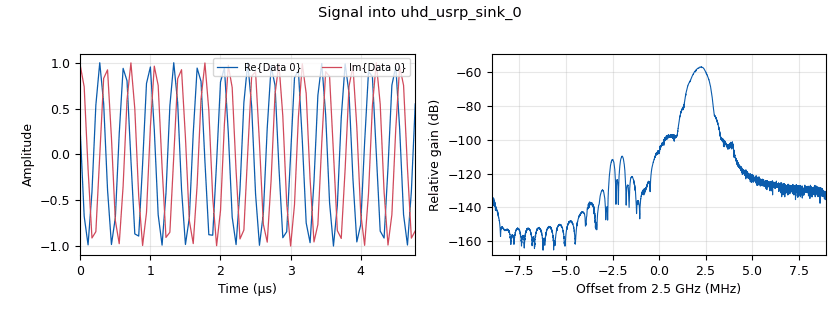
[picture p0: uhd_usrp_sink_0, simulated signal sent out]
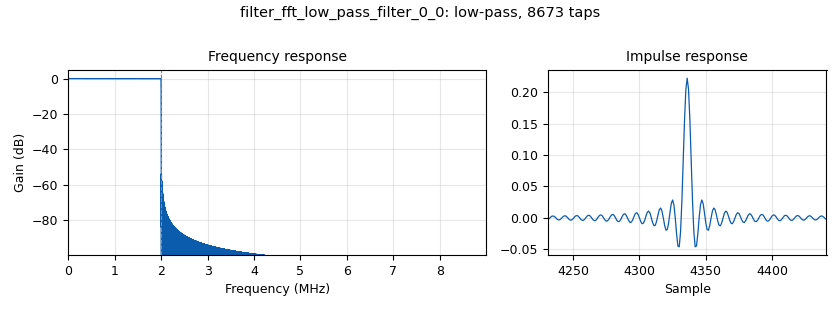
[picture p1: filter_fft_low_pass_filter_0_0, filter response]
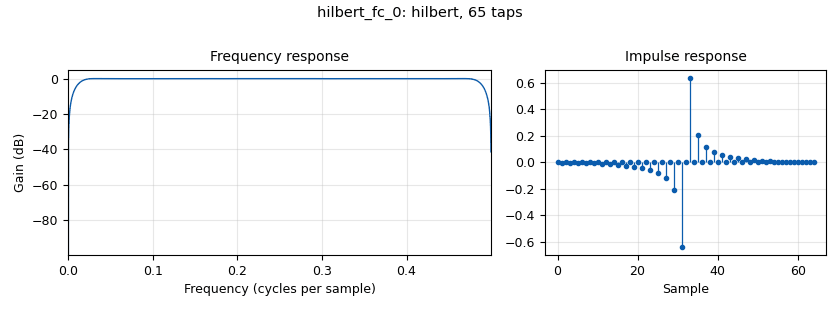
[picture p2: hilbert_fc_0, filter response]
options:
  parameters:
    generate_options: qt_gui
    id: cwfmRadar
    output_language: python
    title: Not titled yet
  states: {}

blocks:
- name: freq
  id: variable
  parameters:
    value: 2500e6
  states: {}
- name: samp_rate
  id: variable
  parameters:
    value: '18000000'
  states: {}
- name: analog_fm_demod_cf_0
  id: analog_fm_demod_cf
  parameters:
    audio_decim: '8'
    audio_pass: '15000'
    audio_stop: '16000'
    chan_rate: '384000'
    deviation: '75000'
    gain: '1.0'
    tau: '75e-6'
  states: {state: disabled}
- name: analog_sig_source_x_0
  id: analog_sig_source_x
  parameters:
    amp: '4'
    freq: '2000'
    offset: '0'
    phase: '0'
    samp_rate: samp_rate
    type: float
    waveform: analog.GR_SAW_WAVE
  states: {}
- name: blocks_add_xx_0
  id: blocks_add_xx
  parameters:
    num_inputs: '3'
    type: complex
  states: {state: disabled}
- name: blocks_complex_to_real_0
  id: blocks_complex_to_real
  parameters: {}
  states: {}
- name: blocks_complex_to_real_0_0
  id: blocks_complex_to_real
  parameters: {}
  states: {state: disabled}
- name: blocks_delay_0
  id: blocks_delay
  parameters:
    delay: '0'
    type: complex
  states: {state: disabled}
- name: blocks_delay_0_0
  id: blocks_delay
  parameters:
    delay: '1000'
    type: complex
  states: {state: disabled}
- name: blocks_delay_0_0_0
  id: blocks_delay
  parameters:
    delay: '2000'
    type: complex
  states: {state: disabled}
- name: blocks_delay_0_0_1
  id: blocks_delay
  parameters:
    delay: '0'
    type: complex
  states: {state: disabled}
- name: blocks_head_0
  id: blocks_head
  parameters:
    num_items: '25000000'
    type: float
  states: {state: disabled}
- name: blocks_multiply_conjugate_cc_0
  id: blocks_multiply_conjugate_cc
  parameters: {}
  states: {state: disabled}
- name: blocks_multiply_xx_0
  id: blocks_multiply_xx
  parameters:
    type: float
  states: {}
- name: blocks_skiphead_0
  id: blocks_skiphead
  parameters:
    num_items: '10000000'
    type: float
  states: {state: disabled}
- name: blocks_throttle2_0
  id: blocks_throttle2
  parameters:
    samples_per_second: samp_rate
    type: complex
  states: {state: disabled}
- name: blocks_vco_f_0
  id: blocks_vco_f
  parameters:
    amplitude: '1'
    samp_rate: samp_rate
    sensitivity: '6280000'
  states: {}
- name: filter_fft_low_pass_filter_0
  id: filter_fft_low_pass_filter
  parameters:
    cutoff_freq: '2000000'
    decim: '1'
    gain: '1'
    nthreads: '4'
    samp_rate: samp_rate
    type: ccc
    width: '5000'
    win: window.WIN_HAMMING
  states: {state: disabled}
- name: filter_fft_low_pass_filter_0_0
  id: filter_fft_low_pass_filter
  parameters:
    cutoff_freq: '2000000'
    decim: '1'
    gain: '1'
    nthreads: '4'
    samp_rate: samp_rate
    type: fff
    width: '5000'
    win: window.WIN_HAMMING
  states: {}
- name: filter_fft_low_pass_filter_0_0_0
  id: filter_fft_low_pass_filter
  parameters:
    cutoff_freq: samp_rate/2
    decim: '1'
    gain: '1'
    nthreads: '4'
    samp_rate: samp_rate
    type: ccc
    width: '5000'
    win: window.WIN_HAMMING
  states: {state: disabled}
- name: hilbert_fc_0
  id: hilbert_fc
  parameters:
    num_taps: '64'
  states: {}
- name: qtgui_freq_sink_x_0
  id: qtgui_freq_sink_x
  parameters:
    bw: samp_rate
    fc: '0'
    fftsize: '4096'
    name: '"TX signal"'
    type: complex
  states: {state: disabled}
- name: qtgui_freq_sink_x_0_0
  id: qtgui_freq_sink_x
  parameters:
    bw: samp_rate/2
    fc: '0'
    fftsize: '1024'
    type: complex
  states: {state: disabled}
- name: qtgui_freq_sink_x_0_0_0
  id: qtgui_freq_sink_x
  parameters:
    autoscale: 'True'
    bw: '10000'
    ctrlpanel: 'True'
    fc: '0'
    fftsize: '1024'
    name: '"RX COmplex"'
    type: complex
    ymin: '-180'
  states: {state: disabled}
- name: qtgui_freq_sink_x_1
  id: qtgui_freq_sink_x
  parameters:
    autoscale: 'True'
    bw: samp_rate
    ctrlpanel: 'True'
    fc: '0'
    fftsize: '1024'
    grid: 'True'
    name: '"RX FFT"'
    type: float
    update_time: '0.01'
    wintype: window.WIN_HAMMING
  states: {state: disabled}
- name: qtgui_freq_sink_x_1_0
  id: qtgui_freq_sink_x
  parameters:
    bw: samp_rate
    fc: '0'
    fftsize: '1024'
    grid: 'True'
    name: '"TX FFT"'
    type: float
    update_time: '0.1'
  states: {state: disabled}
- name: qtgui_freq_sink_x_2_0
  id: qtgui_freq_sink_x
  parameters:
    bw: samp_rate
    fc: '0'
    fftsize: '1024'
    name: '"TX Signal!!!!"'
    type: complex
  states: {state: disabled}
- name: qtgui_time_sink_x_0
  id: qtgui_time_sink_x
  parameters:
    size: 1024*4
    srate: samp_rate
    type: complex
  states: {state: disabled}
- name: qtgui_time_sink_x_0_0
  id: qtgui_time_sink_x
  parameters:
    autoscale: 'True'
    ctrlpanel: 'True'
    entags: 'False'
    size: '1024'
    srate: samp_rate
    tr_mode: qtgui.TRIG_MODE_AUTO
    type: float
  states: {state: disabled}
- name: qtgui_time_sink_x_0_0_0
  id: qtgui_time_sink_x
  parameters:
    autoscale: 'True'
    ctrlpanel: 'True'
    entags: 'False'
    label1: 'TX '
    label2: RX
    name: '"TX time signal"'
    nconnections: '2'
    size: '1024'
    srate: samp_rate
    tr_mode: qtgui.TRIG_MODE_AUTO
    type: float
  states: {}
- name: qtgui_time_sink_x_0_0_0_0
  id: qtgui_time_sink_x
  parameters:
    autoscale: 'True'
    ctrlpanel: 'True'
    entags: 'False'
    name: '"RX time signal"'
    size: '1024'
    srate: samp_rate
    tr_mode: qtgui.TRIG_MODE_AUTO
    type: complex
  states: {state: disabled}
- name: qtgui_waterfall_sink_x_0
  id: qtgui_waterfall_sink_x
  parameters:
    bw: samp_rate/2
    fc: '0'
    fftsize: '1024'
    grid: 'True'
    showports: 'True'
    type: complex
  states: {state: disabled}
- name: qtgui_waterfall_sink_x_0_0
  id: qtgui_waterfall_sink_x
  parameters:
    bw: '20000'
    fc: '0'
    fftsize: '1024'
    name: '"RX Signal"'
    type: complex
  states: {state: disabled}
- name: qtgui_waterfall_sink_x_0_0_0
  id: qtgui_waterfall_sink_x
  parameters:
    bw: '20000'
    fc: '0'
    fftsize: '1024'
    name: '"RX Real Signal"'
    type: float
  states: {}
- name: qtgui_waterfall_sink_x_0_1
  id: qtgui_waterfall_sink_x
  parameters:
    bw: samp_rate
    fc: '0'
    fftsize: '1024'
    name: '"TX Signal"'
    type: complex
    update_time: '0.05'
  states: {state: disabled}
- name: soapy_bladerf_sink_0
  id: soapy_bladerf_sink
  parameters:
    bandwidth: samp_rate
    center_freq: freq
    dev_args: '""'
    gain: '73'
    samp_rate: samp_rate
    type: fc32
  states: {state: disabled}
- name: soapy_bladerf_source_0
  id: soapy_bladerf_source
  parameters:
    bandwidth: samp_rate
    center_freq: freq
    dev_args: '""'
    gain: '60'
    samp_rate: samp_rate
    type: fc32
  states: {state: disabled}
- name: soapy_plutosdr_sink_0
  id: soapy_plutosdr_sink
  parameters:
    bandwidth: samp_rate
    center_freq: freq
    gain: '85'
    samp_rate: samp_rate
    type: fc32
  states: {state: disabled}
- name: soapy_plutosdr_source_0
  id: soapy_plutosdr_source
  parameters:
    bandwidth: samp_rate
    center_freq: freq
    gain: '0'
    samp_rate: samp_rate
    type: fc32
  states: {state: disabled}
- name: uhd_usrp_sink_0
  id: uhd_usrp_sink
  parameters:
    ant0: '"TX/RX"'
    bw0: samp_rate*2
    center_freq0: freq
    dev_addr: ''
    gain0: '1'
    gain_type0: normalized
    samp_rate: samp_rate
    sync: sync
    type: fc32
  states: {}
- name: uhd_usrp_source_0
  id: uhd_usrp_source
  parameters:
    ant0: '"RX2"'
    bw0: samp_rate*2
    center_freq0: freq
    dev_addr: ''
    rx_agc0: Enabled
    samp_rate: samp_rate
    sync: sync
    type: fc32
  states: {}

connections:
- [analog_fm_demod_cf_0, '0', qtgui_time_sink_x_0_0, '0']
- [analog_sig_source_x_0, '0', blocks_vco_f_0, '0']
- [blocks_add_xx_0, '0', blocks_complex_to_real_0, '0']
- [blocks_complex_to_real_0, '0', blocks_multiply_xx_0, '1']
- [blocks_complex_to_real_0, '0', qtgui_time_sink_x_0_0_0, '1']
- [blocks_complex_to_real_0_0, '0', blocks_multiply_xx_0, '0']
- [blocks_delay_0, '0', blocks_multiply_conjugate_cc_0, '1']
- [blocks_delay_0_0, '0', blocks_add_xx_0, '1']
- [blocks_delay_0_0_0, '0', blocks_add_xx_0, '0']
- [blocks_delay_0_0_1, '0', blocks_add_xx_0, '2']
- [blocks_head_0, '0', filter_fft_low_pass_filter_0_0, '0']
- [blocks_multiply_conjugate_cc_0, '0', filter_fft_low_pass_filter_0, '0']
- [blocks_multiply_xx_0, '0', blocks_skiphead_0, '0']
- [blocks_multiply_xx_0, '0', filter_fft_low_pass_filter_0_0, '0']
- [blocks_skiphead_0, '0', blocks_head_0, '0']
- [blocks_throttle2_0, '0', blocks_delay_0, '0']
- [blocks_throttle2_0, '0', filter_fft_low_pass_filter_0_0_0, '0']
- [blocks_vco_f_0, '0', blocks_multiply_xx_0, '0']
- [blocks_vco_f_0, '0', hilbert_fc_0, '0']
- [blocks_vco_f_0, '0', qtgui_freq_sink_x_1_0, '0']
- [blocks_vco_f_0, '0', qtgui_time_sink_x_0_0_0, '0']
- [filter_fft_low_pass_filter_0, '0', qtgui_freq_sink_x_0_0_0, '0']
- [filter_fft_low_pass_filter_0, '0', qtgui_time_sink_x_0_0_0_0, '0']
- [filter_fft_low_pass_filter_0, '0', qtgui_waterfall_sink_x_0_0, '0']
- [filter_fft_low_pass_filter_0_0, '0', qtgui_freq_sink_x_1, '0']
- [filter_fft_low_pass_filter_0_0, '0', qtgui_waterfall_sink_x_0_0_0, '0']
- [filter_fft_low_pass_filter_0_0_0, '0', blocks_delay_0_0, '0']
- [filter_fft_low_pass_filter_0_0_0, '0', blocks_delay_0_0_0, '0']
- [filter_fft_low_pass_filter_0_0_0, '0', blocks_delay_0_0_1, '0']
- [hilbert_fc_0, '0', blocks_complex_to_real_0_0, '0']
- [hilbert_fc_0, '0', blocks_multiply_conjugate_cc_0, '0']
- [hilbert_fc_0, '0', blocks_throttle2_0, '0']
- [hilbert_fc_0, '0', qtgui_freq_sink_x_2_0, '0']
- [hilbert_fc_0, '0', qtgui_waterfall_sink_x_0_1, '0']
- [hilbert_fc_0, '0', soapy_bladerf_sink_0, '0']
- [hilbert_fc_0, '0', soapy_plutosdr_sink_0, '0']
- [hilbert_fc_0, '0', uhd_usrp_sink_0, '0']
- [soapy_bladerf_source_0, '0', blocks_delay_0, '0']
- [soapy_bladerf_source_0, '0', filter_fft_low_pass_filter_0_0_0, '0']
- [soapy_bladerf_source_0, '0', qtgui_waterfall_sink_x_0, '0']
- [soapy_plutosdr_source_0, '0', analog_fm_demod_cf_0, '0']
- [soapy_plutosdr_source_0, '0', blocks_delay_0, '0']
- [soapy_plutosdr_source_0, '0', filter_fft_low_pass_filter_0_0_0, '0']
- [soapy_plutosdr_source_0, '0', qtgui_freq_sink_x_0_0, '0']
- [soapy_plutosdr_source_0, '0', qtgui_waterfall_sink_x_0, '0']
- [uhd_usrp_source_0, '0', blocks_complex_to_real_0, '0']
- [uhd_usrp_source_0, '0', blocks_delay_0, '0']
- [uhd_usrp_source_0, '0', blocks_delay_0_0, '0']
- [uhd_usrp_source_0, '0', blocks_delay_0_0_0, '0']
- [uhd_usrp_source_0, '0', blocks_delay_0_0_1, '0']
- [uhd_usrp_source_0, '0', filter_fft_low_pass_filter_0_0_0, '0']

metadata:
  file_format: 1
  grc_version: 3.10.7.0
